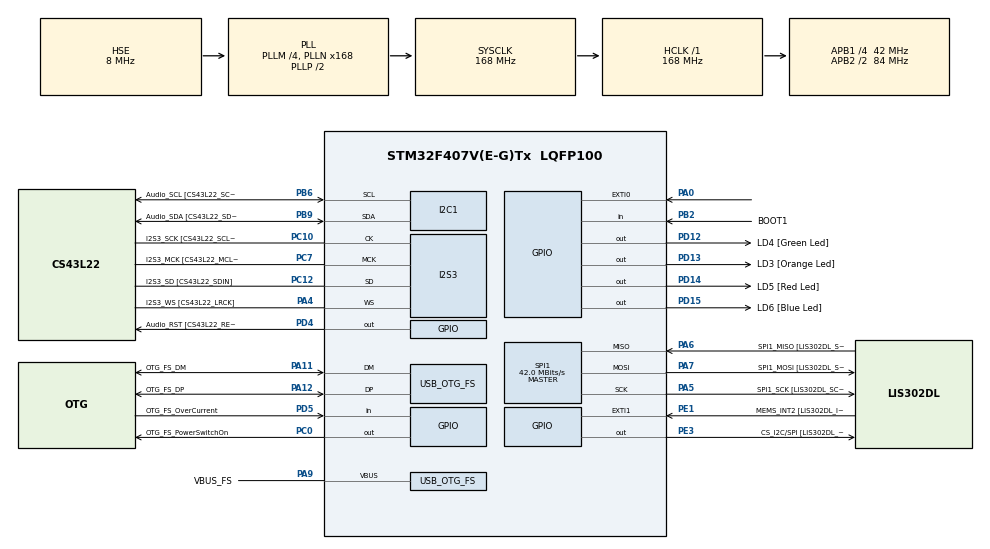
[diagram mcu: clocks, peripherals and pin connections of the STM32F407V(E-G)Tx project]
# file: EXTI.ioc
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I2S3.AudioFreq-Half_Duplex_Master=I2S_AUDIOFREQ_96K
I2S3.ErrorAudioFreq=-2.34 %
I2S3.ErrorAudioFreq-Half_Duplex_Master=0.8 %
I2S3.FullDuplexMode=I2S_FULLDUPLEXMODE_DISABLE
I2S3.Instance=SPI$Index
I2S3.RealAudioFreq=93.75 KHz
I2S3.RealAudioFreq-Half_Duplex_Master=96.774 KHz
I2S3.VirtualMode=I2S_MODE_MASTER
Mcu.Family=STM32F4
Mcu.Name=STM32F407V(E-G)Tx
Mcu.Package=LQFP100
NVIC.EXTI0_IRQn=true\:0\:0\:false\:true\:true\:1\:true\:true
NVIC.OTG_FS_IRQn=true\:0\:0\:false\:false\:true\:true\:true
NVIC.PriorityGroup=NVIC_PRIORITYGROUP_0
NVIC.TIM7_IRQn=true\:0\:0\:false\:true\:true\:2\:true\:true
PA0-WKUP.Signal=GPXTI0
PA10.GPIO_Label=OTG_FS_ID
PA10.GPIO_Mode=GPIO_MODE_AF_PP
PA10.GPIO_PuPd=GPIO_NOPULL
PA10.GPIO_Speed=GPIO_SPEED_FREQ_LOW
PA10.Signal=USB_OTG_FS_ID
PA11.GPIO_Label=OTG_FS_DM
PA11.GPIO_Mode=GPIO_MODE_AF_PP
PA11.GPIO_PuPd=GPIO_NOPULL
PA11.GPIO_Speed=GPIO_SPEED_FREQ_LOW
PA11.Mode=Host_Only
PA11.Signal=USB_OTG_FS_DM
PA12.GPIO_Label=OTG_FS_DP
PA12.GPIO_Mode=GPIO_MODE_AF_PP
PA12.GPIO_PuPd=GPIO_NOPULL
PA12.GPIO_Speed=GPIO_SPEED_FREQ_LOW
PA12.Mode=Host_Only
PA12.Signal=USB_OTG_FS_DP
PA13.GPIO_Label=SWDIO
PA13.Mode=Serial_Wire
PA13.Signal=SYS_JTMS-SWDIO
PA14.GPIO_Label=SWCLK
PA14.Mode=Serial_Wire
PA14.Signal=SYS_JTCK-SWCLK
PA4.GPIO_Label=I2S3_WS [CS43L22_LRCK]
PA4.GPIO_Mode=GPIO_MODE_AF_PP
PA4.GPIO_PuPd=GPIO_NOPULL
PA4.GPIO_Speed=GPIO_SPEED_FREQ_LOW
PA4.Mode=Half_Duplex_Master
PA4.Signal=I2S3_WS
PA5.GPIO_Label=SPI1_SCK [LIS302DL_SCL/SPC]
PA5.GPIO_Mode=GPIO_MODE_AF_PP
PA5.GPIO_PuPd=GPIO_NOPULL
PA5.GPIO_Speed=GPIO_SPEED_FREQ_LOW
PA5.Mode=Full_Duplex_Master
PA5.Signal=SPI1_SCK
PA6.GPIO_Label=SPI1_MISO [LIS302DL_SDO]
PA6.GPIO_Mode=GPIO_MODE_AF_PP
PA6.GPIO_PuPd=GPIO_NOPULL
PA6.GPIO_Speed=GPIO_SPEED_FREQ_LOW
PA6.Mode=Full_Duplex_Master
PA6.Signal=SPI1_MISO
PA7.GPIO_Label=SPI1_MOSI [LIS302DL_SDA/SDI/SDO]
PA7.GPIO_Mode=GPIO_MODE_AF_PP
PA7.GPIO_PuPd=GPIO_NOPULL
PA7.GPIO_Speed=GPIO_SPEED_FREQ_LOW
PA7.Mode=Full_Duplex_Master
PA7.Signal=SPI1_MOSI
PA9.GPIO_Label=VBUS_FS
PA9.GPIO_Mode=GPIO_MODE_INPUT
PA9.GPIO_PuPd=GPIO_NOPULL
PA9.Mode=Activate_VBUS
PA9.Signal=USB_OTG_FS_VBUS
PB10.GPIO_Label=CLK_IN [MP45DT02_CLK]
PB10.GPIO_Mode=GPIO_MODE_AF_PP
PB10.GPIO_PuPd=GPIO_NOPULL
PB10.GPIO_Speed=GPIO_SPEED_FREQ_LOW
PB10.Signal=I2S2_CK
PB2.GPIO_Label=BOOT1
PB2.GPIO_Mode=GPIO_MODE_INPUT
PB2.GPIO_PuPd=GPIO_NOPULL
PB2.Signal=GPIO_Input
PB3.GPIO_Label=SWO
PB3.Signal=SYS_JTDO-SWO
PB6.GPIO_Label=Audio_SCL [CS43L22_SCL]
PB6.GPIO_Mode=GPIO_MODE_AF_OD
PB6.GPIO_PuPd=GPIO_NOPULL
PB6.GPIO_Speed=GPIO_SPEED_FREQ_LOW
PB6.Mode=I2C
PB6.Signal=I2C1_SCL
PB9.GPIO_Label=Audio_SDA [CS43L22_SDA]
PB9.GPIO_Mode=GPIO_MODE_AF_OD
PB9.GPIO_PuPd=GPIO_NOPULL
PB9.GPIO_Speed=GPIO_SPEED_FREQ_LOW
PB9.Mode=I2C
PB9.Signal=I2C1_SDA
PC0.GPIO_Label=OTG_FS_PowerSwitchOn
PC0.GPIO_PuPd=GPIO_NOPULL
PC0.GPIO_Speed=GPIO_SPEED_FREQ_LOW
PC0.PinState=GPIO_PIN_SET
PC0.Signal=GPIO_Output
PC10.GPIO_Label=I2S3_SCK [CS43L22_SCLK]
PC10.GPIO_Mode=GPIO_MODE_AF_PP
PC10.GPIO_PuPd=GPIO_NOPULL
PC10.GPIO_Speed=GPIO_SPEED_FREQ_LOW
PC10.Mode=Half_Duplex_Master
PC10.Signal=I2S3_CK
PC12.GPIO_Label=I2S3_SD [CS43L22_SDIN]
PC12.GPIO_Mode=GPIO_MODE_AF_PP
PC12.GPIO_PuPd=GPIO_NOPULL
PC12.GPIO_Speed=GPIO_SPEED_FREQ_LOW
PC12.Mode=Half_Duplex_Master
PC12.Signal=I2S3_SD
PC14-OSC32_IN.GPIO_Label=PC14-OSC32_IN
PC14-OSC32_IN.Mode=LSE-External-Oscillator
PC14-OSC32_IN.Signal=RCC_OSC32_IN
PC15-OSC32_OUT.GPIO_Label=PC15-OSC32_OUT
PC15-OSC32_OUT.Mode=LSE-External-Oscillator
PC15-OSC32_OUT.Signal=RCC_OSC32_OUT
PC3.GPIO_Label=PDM_OUT [MP45DT02_DOUT]
PC3.GPIO_Mode=GPIO_MODE_AF_PP
PC3.GPIO_PuPd=GPIO_NOPULL
PC3.GPIO_Speed=GPIO_SPEED_FREQ_LOW
PC3.Signal=I2S2_SD
PC7.GPIO_Label=I2S3_MCK [CS43L22_MCLK]
PC7.GPIO_Mode=GPIO_MODE_AF_PP
PC7.GPIO_PuPd=GPIO_NOPULL
PC7.GPIO_Speed=GPIO_SPEED_FREQ_LOW
PC7.Mode=Master_Clock_Activated
PC7.Signal=I2S3_MCK
PD12.GPIO_Label=LD4 [Green Led]
PD12.GPIO_PuPd=GPIO_NOPULL
PD12.GPIO_Speed=GPIO_SPEED_FREQ_LOW
PD12.Signal=GPIO_Output
PD13.GPIO_Label=LD3 [Orange Led]
PD13.GPIO_PuPd=GPIO_NOPULL
PD13.GPIO_Speed=GPIO_SPEED_FREQ_LOW
PD13.Signal=GPIO_Output
PD14.GPIO_Label=LD5 [Red Led]
PD14.GPIO_PuPd=GPIO_NOPULL
PD14.GPIO_Speed=GPIO_SPEED_FREQ_LOW
PD14.Signal=GPIO_Output
PD15.GPIO_Label=LD6 [Blue Led]
PD15.GPIO_PuPd=GPIO_NOPULL
PD15.GPIO_Speed=GPIO_SPEED_FREQ_LOW
PD15.Signal=GPIO_Output
PD4.GPIO_Label=Audio_RST [CS43L22_RESET]
PD4.GPIO_PuPd=GPIO_NOPULL
PD4.GPIO_Speed=GPIO_SPEED_FREQ_LOW
PD4.Signal=GPIO_Output
PD5.GPIO_Label=OTG_FS_OverCurrent
PD5.GPIO_Mode=GPIO_MODE_INPUT
PD5.GPIO_PuPd=GPIO_NOPULL
PD5.Signal=GPIO_Input
PE1.GPIO_Label=MEMS_INT2 [LIS302DL_INT2]
PE1.GPIO_ModeDefaultEXTI=GPIO_MODE_EVT_RISING
PE1.GPIO_PuPd=GPIO_NOPULL
PE1.Signal=GPXTI1
PE3.GPIO_Label=CS_I2C/SPI [LIS302DL_CS_I2C/SPI]
PE3.GPIO_PuPd=GPIO_NOPULL
PE3.GPIO_Speed=GPIO_SPEED_FREQ_LOW
PE3.Signal=GPIO_Output
PH0-OSC_IN.GPIO_Label=PH0-OSC_IN
PH0-OSC_IN.Mode=HSE-External-Oscillator
PH0-OSC_IN.Signal=RCC_OSC_IN
PH1-OSC_OUT.GPIO_Label=PH1-OSC_OUT
PH1-OSC_OUT.Mode=HSE-External-Oscillator
PH1-OSC_OUT.Signal=RCC_OSC_OUT
ProjectManager.HeapSize=0x200
ProjectManager.StackSize=0x400
ProjectManager.TargetToolchain=MDK-ARM V5.27
RCC.48MHZClocksFreq_Value=48000000
RCC.AHBFreq_Value=168000000
RCC.APB1CLKDivider=RCC_HCLK_DIV4
RCC.APB1Freq_Value=42000000
RCC.APB1TimFreq_Value=84000000
RCC.APB2CLKDivider=RCC_HCLK_DIV2
RCC.APB2Freq_Value=84000000
RCC.APB2TimFreq_Value=168000000
RCC.CortexFreq_Value=168000000
RCC.HCLKFreq_Value=168000000
RCC.HSE_VALUE=8000000
RCC.HSI_VALUE=16000000
RCC.PLLM=4
RCC.PLLN=168
RCC.PLLQ=7
RCC.SYSCLKFreq_VALUE=168000000
RCC.SYSCLKSource=RCC_SYSCLKSOURCE_PLLCLK
RCC.VCOOutputFreq_Value=336000000
SPI1.BaudRatePrescaler=SPI_BAUDRATEPRESCALER_2
SPI1.BaudRatePrescaler-Full_Duplex_Master=SPI_BAUDRATEPRESCALER_2
SPI1.CalculateBaudRate=42.0 MBits/s
SPI1.CalculateBaudRate-Full_Duplex_Master=42.0 MBits/s
SPI1.Direction=SPI_DIRECTION_2LINES
SPI1.Mode=SPI_MODE_MASTER
SPI1.Mode-Full_Duplex_Master=SPI_MODE_MASTER
SPI1.VirtualType=VM_MASTER
TIM7.Period=8400-1
TIM7.Prescaler=10000-1
USB_HOST.BSP.number=1
USB_HOST.USBH_HandleTypeDef-CDC_FS=hUsbHostFS
USB_HOST.VirtualModeFS=Cdc
USB_HOST0.BSP.STBoard=false
USB_HOST0.BSP.api=Unknown
USB_HOST0.BSP.i2caddr=0
USB_HOST0.BSP.i2creg=0
USB_HOST0.BSP.instance=PC0
USB_HOST0.BSP.ip=GPIO
USB_HOST0.BSP.mode=Output
USB_HOST0.BSP.name=Drive_VBUS_FS
USB_HOST0.BSP.solution=PC0
USB_OTG_FS.VirtualMode=Host_Only
USB_OTG_FS.phy_itface=HCD_PHY_EMBEDDED
VP_TIM7_VS_ClockSourceINT.Mode=Enable_Timer
VP_USB_HOST_VS_USB_HOST_CDC_FS.Mode=CDC_FS
board=STM32F407G-DISC1

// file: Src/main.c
/* USER CODE BEGIN Header */
/**
  ******************************************************************************
  * @file           : main.c
  * @brief          : Main program body
  ******************************************************************************
  * @attention
  *
  * <h2><center>&copy; Copyright (c) 2020 STMicroelectronics.
  * All rights reserved.</center></h2>
  *
  * This software component is licensed by ST under Ultimate Liberty license
  * SLA0044, the "License"; You may not use this file except in compliance with
  * the License. You may obtain a copy of the License at:
  *                             www.st.com/SLA0044
  *
  ******************************************************************************
  */
/* USER CODE END Header */

#include "main.h"
#include "i2c.h"
#include "i2s.h"
#include "spi.h"
#include "tim.h"
#include "usb_host.h"
#include "gpio.h"

/* USER CODE BEGIN PD */
#define ALL_LEDS (LD3_Pin | LD4_Pin | LD5_Pin | LD6_Pin)
/* USER CODE END PD */

/* USER CODE BEGIN PV */
uint16_t flag = 0;
/* USER CODE END PV */

void SystemClock_Config(void);
static void MX_NVIC_Init(void);
void MX_USB_HOST_Process(void);

int main(void)
{

  /* MCU Configuration--------------------------------------------------------*/

  /* Reset of all peripherals, Initializes the Flash interface and the Systick. */
  HAL_Init();

  /* Configure the system clock */
  SystemClock_Config();

  /* Initialize all configured peripherals */
  MX_GPIO_Init();
  MX_I2C1_Init();
  MX_I2S3_Init();
  MX_SPI1_Init();
  MX_USB_HOST_Init();
  MX_TIM7_Init();

  /* Initialize interrupts */
  MX_NVIC_Init();
  /* USER CODE BEGIN 2 */
	HAL_TIM_Base_Start_IT(&htim7);
  /* USER CODE END 2 */

  /* Infinite loop */
  /* USER CODE BEGIN WHILE */
  while (1)
  {
		if(flag)
		{
			HAL_TIM_Base_Stop_IT(&htim7);
			HAL_GPIO_TogglePin(GPIOD, ALL_LEDS);
			HAL_Delay(300);
			HAL_GPIO_TogglePin(GPIOD, ALL_LEDS);
			HAL_Delay(300);
			HAL_GPIO_TogglePin(GPIOD, ALL_LEDS);
			HAL_Delay(300);
			HAL_GPIO_TogglePin(GPIOD, ALL_LEDS);
			HAL_Delay(300);

			flag = 0;
			HAL_TIM_Base_Start_IT(&htim7);
		}
    /* USER CODE END WHILE */
    MX_USB_HOST_Process();

  }
}

void SystemClock_Config(void)
{
  RCC_OscInitTypeDef RCC_OscInitStruct = {0};
  RCC_ClkInitTypeDef RCC_ClkInitStruct = {0};
  RCC_PeriphCLKInitTypeDef PeriphClkInitStruct = {0};

  /** Configure the main internal regulator output voltage
  */
  __HAL_RCC_PWR_CLK_ENABLE();
  __HAL_PWR_VOLTAGESCALING_CONFIG(PWR_REGULATOR_VOLTAGE_SCALE1);
  /** Initializes the CPU, AHB and APB busses clocks
  */
  RCC_OscInitStruct.OscillatorType = RCC_OSCILLATORTYPE_HSE;
  RCC_OscInitStruct.HSEState = RCC_HSE_ON;
  RCC_OscInitStruct.PLL.PLLState = RCC_PLL_ON;
  RCC_OscInitStruct.PLL.PLLSource = RCC_PLLSOURCE_HSE;
  RCC_OscInitStruct.PLL.PLLM = 4;
  RCC_OscInitStruct.PLL.PLLN = 168;
  RCC_OscInitStruct.PLL.PLLP = RCC_PLLP_DIV2;
  RCC_OscInitStruct.PLL.PLLQ = 7;
  if (HAL_RCC_OscConfig(&RCC_OscInitStruct) != HAL_OK)
  {
    Error_Handler();
  }
  /** Initializes the CPU, AHB and APB busses clocks
  */
  RCC_ClkInitStruct.ClockType = RCC_CLOCKTYPE_HCLK|RCC_CLOCKTYPE_SYSCLK
                              |RCC_CLOCKTYPE_PCLK1|RCC_CLOCKTYPE_PCLK2;
  RCC_ClkInitStruct.SYSCLKSource = RCC_SYSCLKSOURCE_PLLCLK;
  RCC_ClkInitStruct.AHBCLKDivider = RCC_SYSCLK_DIV1;
  RCC_ClkInitStruct.APB1CLKDivider = RCC_HCLK_DIV4;
  RCC_ClkInitStruct.APB2CLKDivider = RCC_HCLK_DIV2;

  if (HAL_RCC_ClockConfig(&RCC_ClkInitStruct, FLASH_LATENCY_5) != HAL_OK)
  {
    Error_Handler();
  }
  PeriphClkInitStruct.PeriphClockSelection = RCC_PERIPHCLK_I2S;
  PeriphClkInitStruct.PLLI2S.PLLI2SN = 192;
  PeriphClkInitStruct.PLLI2S.PLLI2SR = 2;
  if (HAL_RCCEx_PeriphCLKConfig(&PeriphClkInitStruct) != HAL_OK)
  {
    Error_Handler();
  }
}

/**
  * @brief NVIC Configuration.
  * @retval None
  */
static void MX_NVIC_Init(void)
{
  /* EXTI0_IRQn interrupt configuration */
  HAL_NVIC_SetPriority(EXTI0_IRQn, 0, 0);
  HAL_NVIC_EnableIRQ(EXTI0_IRQn);
  /* TIM7_IRQn interrupt configuration */
  HAL_NVIC_SetPriority(TIM7_IRQn, 0, 0);
  HAL_NVIC_EnableIRQ(TIM7_IRQn);
}

/* USER CODE BEGIN 4 */
uint16_t LED_CNT = 0;

void HAL_TIM_PeriodElapsedCallback(TIM_HandleTypeDef *htim)
{
	if(htim->Instance == TIM7)
  {
		if(LED_CNT == 0)
		{
			HAL_GPIO_WritePin(GPIOD, ALL_LEDS, GPIO_PIN_RESET);
			HAL_GPIO_WritePin(LD3_GPIO_Port, LD3_Pin, GPIO_PIN_SET);

			LED_CNT++;
		}
		else if(LED_CNT == 1)
		{
			HAL_GPIO_WritePin(GPIOD, ALL_LEDS, GPIO_PIN_RESET);
			HAL_GPIO_WritePin(LD4_GPIO_Port, LD4_Pin, GPIO_PIN_SET);

			LED_CNT++;
		}
		else if(LED_CNT == 2)
		{
			HAL_GPIO_WritePin(GPIOD, ALL_LEDS, GPIO_PIN_RESET);
			HAL_GPIO_WritePin(LD6_GPIO_Port, LD6_Pin, GPIO_PIN_SET);

			LED_CNT++;
		}
		else if(LED_CNT == 3)
		{
			HAL_GPIO_WritePin(GPIOD, ALL_LEDS, GPIO_PIN_RESET);
			HAL_GPIO_WritePin(LD5_GPIO_Port, LD5_Pin, GPIO_PIN_SET);

			LED_CNT = 0;
		}
		else
		{
			HAL_GPIO_WritePin(GPIOD, ALL_LEDS, GPIO_PIN_RESET);
			LED_CNT = 0;
		}
  }
}

void HAL_GPIO_EXTI_Callback(uint16_t GPIO_Pin)
{
	if(GPIO_Pin == GPIO_PIN_0)
	{
		flag = 1;
	}
}
/* USER CODE END 4 */

void Error_Handler(void)
{
}

/************************ (C) COPYRIGHT STMicroelectronics *****END OF FILE****/
